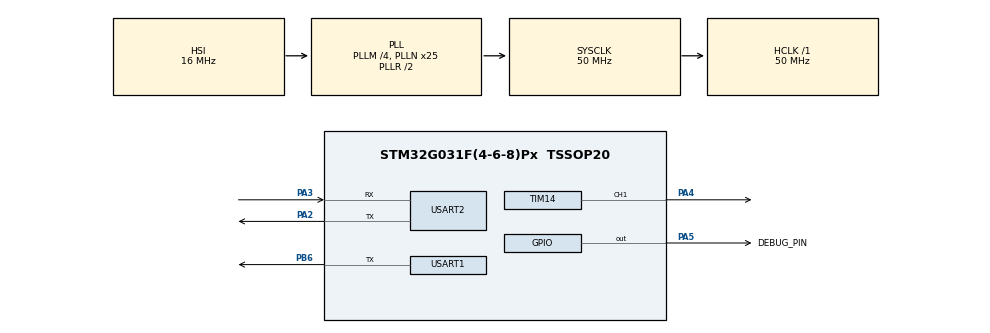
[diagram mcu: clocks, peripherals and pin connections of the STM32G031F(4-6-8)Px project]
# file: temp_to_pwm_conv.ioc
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CRC.CRCLength=CRC_POLYLENGTH_8B
CRC.DefaultInitValueUse=DEFAULT_INIT_VALUE_DISABLE
CRC.DefaultPolynomialUse=DEFAULT_POLYNOMIAL_DISABLE
CRC.GeneratingPolynomial=X5+X4+X0
CRC.InputDataInversionMode=CRC_INPUTDATA_INVERSION_BYTE
CRC.OutputDataInversionMode=CRC_OUTPUTDATA_INVERSION_ENABLE
Mcu.Family=STM32G0
Mcu.Name=STM32G031F(4-6-8)Px
Mcu.Package=TSSOP20
Mcu.UserConstants=UART_ONE_WIRE,$$_USART2_IP_HANDLE_$$;TIM_PWM,$$_TIM14_IP_HANDLE_$$;UART_DEBUG,$$_USART1_IP_HANDLE_$$;CRC_UNIT,$$_CRC_IP_HANDLE_$$;TIM_MEASURE,$$_TIM1_IP_HANDLE_$$
NVIC.PVD_IRQn=true\:1\:0\:true\:false\:true\:true\:true\:true
NVIC.TIM1_CC_IRQn=true\:0\:0\:false\:false\:true\:true\:true\:true
PA13.Mode=Serial_Wire
PA13.Signal=SYS_SWDIO
PA14-BOOT0.Mode=Serial_Wire
PA14-BOOT0.Signal=SYS_SWCLK
PA14-BOOT0__PA15.StandardMode=true
PA2.GPIO_ModeDefaultPP=GPIO_MODE_AF_OD
PA2.GPIO_Speed=GPIO_SPEED_FREQ_MEDIUM
PA2.Mode=Asynchronous
PA2.Signal=USART2_TX
PA3.GPIO_Speed=GPIO_SPEED_FREQ_MEDIUM
PA3.Mode=Asynchronous
PA3.Signal=USART2_RX
PA4.GPIO_Speed=GPIO_SPEED_FREQ_MEDIUM
PA4.Signal=S_TIM14_CH1
PA5.GPIO_Label=DEBUG_PIN
PA5.GPIO_PuPd=GPIO_NOPULL
PA5.GPIO_Speed=GPIO_SPEED_FREQ_VERY_HIGH
PA5.PinState=GPIO_PIN_RESET
PA5.Signal=GPIO_Output
PB0__PB1__PB2__PA8.StandardMode=true
PB3__PB4__PB5__PB6.StandardMode=true
PB6.GPIO_Speed=GPIO_SPEED_FREQ_VERY_HIGH
PB6.Mode=Half_duplex(single_wire_mode)
PB6.Signal=USART1_TX
PB7__PB8.StandardMode=true
PC14-OSC32_IN\ (PC14)__PB9.StandardMode=true
ProjectManager.HeapSize=0x200
ProjectManager.StackSize=0x400
ProjectManager.TargetToolchain=STM32CubeIDE
RCC.ADCFreq_Value=50000000
RCC.AHBFreq_Value=50000000
RCC.CortexFreq_Value=50000000
RCC.EXTERNAL_CLOCK_VALUE=12288000
RCC.HCLKFreq_Value=50000000
RCC.HSE_VALUE=8000000
RCC.HSI_VALUE=16000000
RCC.LSE_VALUE=32768
RCC.PLLM=RCC_PLLM_DIV4
RCC.PLLN=25
RCC.PLLQ=RCC_PLLQ_DIV4
RCC.SYSCLKFreq_VALUE=50000000
RCC.SYSCLKSource=RCC_SYSCLKSOURCE_PLLCLK
RCC.VCOOutputFreq_Value=100000000
SH.S_TIM14_CH1.0=TIM14_CH1,PWM Generation1 CH1
SYS.Mode=PWR_PVD_MODE_NORMAL
SYS.PVDLevel=PWR_PVDLEVEL_5
TIM1.Channel-Output\ Compare1\ No\ Output=TIM_CHANNEL_1
TIM1.Channel-Output\ Compare2\ No\ Output=TIM_CHANNEL_2
TIM1.OC1Preload=DISABLE
TIM1.Period=10000-1
TIM1.Prescaler=5000-1
TIM1.Pulse-Output\ Compare1\ No\ Output=8000-1
TIM1.Pulse-Output\ Compare2\ No\ Output=10000-1
TIM14.Channel=TIM_CHANNEL_1
TIM14.OCFastMode_PWM=TIM_OCFAST_DISABLE
TIM14.Period=10000-1
TIM14.Prescaler=5-1
TIM14.Pulse=0
USART1.BaudRate=1000000
USART1.Mode=MODE_TX
USART1.VirtualMode-Half_duplex(single_wire_mode)=VM_ASYNC
USART2.OverSampling=UART_OVERSAMPLING_16
USART2.VirtualMode-Asynchronous=VM_ASYNC
VP_CRC_VS_CRC.Mode=CRC_Activate
VP_IWDG_VS_IWDG.Mode=IWDG_Activate
VP_SYS_V_PVD_IN.Mode=Mode_PVD_Int
VP_TIM14_VS_ClockSourceINT.Mode=Enable_Timer
VP_TIM1_VS_ClockSourceINT.Mode=Internal
VP_TIM1_VS_no_output1.Mode=Output Compare1 No Output
VP_TIM1_VS_no_output2.Mode=Output Compare2 No Output
board=custom

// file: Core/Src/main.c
/* USER CODE BEGIN Header */
/**
  ******************************************************************************
  * @file           : main.c
  * @brief          : Main program body
  ******************************************************************************
  * @attention
  *
  * Copyright (c) 2025 STMicroelectronics.
  * All rights reserved.
  *
  * This software is licensed under terms that can be found in the LICENSE file
  * in the root directory of this software component.
  * If no LICENSE file comes with this software, it is provided AS-IS.
  *
  ******************************************************************************
  */
/* USER CODE END Header */
#include "main.h"

CRC_HandleTypeDef hcrc;

IWDG_HandleTypeDef hiwdg;

TIM_HandleTypeDef htim1;
TIM_HandleTypeDef htim14;

UART_HandleTypeDef huart1;
UART_HandleTypeDef huart2;

void SystemClock_Config(void);
static void MX_GPIO_Init(void);
static void MX_TIM14_Init(void);
static void MX_USART1_UART_Init(void);
static void MX_USART2_UART_Init(void);
static void MX_IWDG_Init(void);
static void MX_CRC_Init(void);
static void MX_TIM1_Init(void);
/* USER CODE BEGIN PFP */
static void touch_grass();
/* USER CODE END PFP */

int main(void)
{

  /* MCU Configuration--------------------------------------------------------*/

  /* Reset of all peripherals, Initializes the Flash interface and the Systick. */
  HAL_Init();

  /* Configure the system clock */
  SystemClock_Config();

  /* Initialize all configured peripherals */
  MX_GPIO_Init();
  MX_TIM14_Init();
  MX_USART1_UART_Init();
  MX_USART2_UART_Init();
  MX_IWDG_Init();
  MX_CRC_Init();
  MX_TIM1_Init();
  /* USER CODE BEGIN 2 */

  while (ds18b20_init(&UART_ONE_WIRE)) {
	  debug_print(ERR, "Trying to reinit . . .");
	  HAL_Delay(100);  //  watchdog will do
  }

  HAL_TIM_PWM_Start(&TIM_PWM, TIM_CHANNEL_1);
  HAL_TIM_OC_Start_IT(&TIM_MEASURE, TIM_CHANNEL_2);
  HAL_TIM_OC_Start_IT(&TIM_MEASURE, TIM_CHANNEL_1);
  /* USER CODE END 2 */

  /* Infinite loop */
  /* USER CODE BEGIN WHILE */
  while (1)
  {
    touch_grass();
    /* USER CODE END WHILE */

  }
}

void SystemClock_Config(void)
{
  RCC_OscInitTypeDef RCC_OscInitStruct = {0};
  RCC_ClkInitTypeDef RCC_ClkInitStruct = {0};

  /** Configure the main internal regulator output voltage
  */
  HAL_PWREx_ControlVoltageScaling(PWR_REGULATOR_VOLTAGE_SCALE1);

  /** Initializes the RCC Oscillators according to the specified parameters
  * in the RCC_OscInitTypeDef structure.
  */
  RCC_OscInitStruct.OscillatorType = RCC_OSCILLATORTYPE_HSI|RCC_OSCILLATORTYPE_LSI;
  RCC_OscInitStruct.HSIState = RCC_HSI_ON;
  RCC_OscInitStruct.HSIDiv = RCC_HSI_DIV1;
  RCC_OscInitStruct.HSICalibrationValue = RCC_HSICALIBRATION_DEFAULT;
  RCC_OscInitStruct.LSIState = RCC_LSI_ON;
  RCC_OscInitStruct.PLL.PLLState = RCC_PLL_ON;
  RCC_OscInitStruct.PLL.PLLSource = RCC_PLLSOURCE_HSI;
  RCC_OscInitStruct.PLL.PLLM = RCC_PLLM_DIV4;
  RCC_OscInitStruct.PLL.PLLN = 25;
  RCC_OscInitStruct.PLL.PLLP = RCC_PLLP_DIV2;
  RCC_OscInitStruct.PLL.PLLQ = RCC_PLLQ_DIV4;
  RCC_OscInitStruct.PLL.PLLR = RCC_PLLR_DIV2;
  if (HAL_RCC_OscConfig(&RCC_OscInitStruct) != HAL_OK)
  {
    Error_Handler();
  }

  /** Initializes the CPU, AHB and APB buses clocks
  */
  RCC_ClkInitStruct.ClockType = RCC_CLOCKTYPE_HCLK|RCC_CLOCKTYPE_SYSCLK
                              |RCC_CLOCKTYPE_PCLK1;
  RCC_ClkInitStruct.SYSCLKSource = RCC_SYSCLKSOURCE_PLLCLK;
  RCC_ClkInitStruct.AHBCLKDivider = RCC_SYSCLK_DIV1;
  RCC_ClkInitStruct.APB1CLKDivider = RCC_HCLK_DIV1;

  if (HAL_RCC_ClockConfig(&RCC_ClkInitStruct, FLASH_LATENCY_2) != HAL_OK)
  {
    Error_Handler();
  }
}

static void MX_CRC_Init(void)
{

  hcrc.Instance = CRC;
  hcrc.Init.DefaultPolynomialUse = DEFAULT_POLYNOMIAL_DISABLE;
  hcrc.Init.DefaultInitValueUse = DEFAULT_INIT_VALUE_DISABLE;
  hcrc.Init.GeneratingPolynomial = 49;
  hcrc.Init.CRCLength = CRC_POLYLENGTH_8B;
  hcrc.Init.InitValue = 0;
  hcrc.Init.InputDataInversionMode = CRC_INPUTDATA_INVERSION_BYTE;
  hcrc.Init.OutputDataInversionMode = CRC_OUTPUTDATA_INVERSION_ENABLE;
  hcrc.InputDataFormat = CRC_INPUTDATA_FORMAT_BYTES;
  if (HAL_CRC_Init(&hcrc) != HAL_OK)
  {
    Error_Handler();
  }

}

static void MX_IWDG_Init(void)
{

  hiwdg.Instance = IWDG;
  hiwdg.Init.Prescaler = IWDG_PRESCALER_4;
  hiwdg.Init.Window = 4095;
  hiwdg.Init.Reload = 4095;
  if (HAL_IWDG_Init(&hiwdg) != HAL_OK)
  {
    Error_Handler();
  }

}

static void MX_TIM1_Init(void)
{

  TIM_ClockConfigTypeDef sClockSourceConfig = {0};
  TIM_MasterConfigTypeDef sMasterConfig = {0};
  TIM_OC_InitTypeDef sConfigOC = {0};
  TIM_BreakDeadTimeConfigTypeDef sBreakDeadTimeConfig = {0};

  htim1.Instance = TIM1;
  htim1.Init.Prescaler = 5000-1;
  htim1.Init.CounterMode = TIM_COUNTERMODE_UP;
  htim1.Init.Period = 10000-1;
  htim1.Init.ClockDivision = TIM_CLOCKDIVISION_DIV1;
  htim1.Init.RepetitionCounter = 0;
  htim1.Init.AutoReloadPreload = TIM_AUTORELOAD_PRELOAD_DISABLE;
  if (HAL_TIM_Base_Init(&htim1) != HAL_OK)
  {
    Error_Handler();
  }
  sClockSourceConfig.ClockSource = TIM_CLOCKSOURCE_INTERNAL;
  if (HAL_TIM_ConfigClockSource(&htim1, &sClockSourceConfig) != HAL_OK)
  {
    Error_Handler();
  }
  if (HAL_TIM_OC_Init(&htim1) != HAL_OK)
  {
    Error_Handler();
  }
  sMasterConfig.MasterOutputTrigger = TIM_TRGO_RESET;
  sMasterConfig.MasterOutputTrigger2 = TIM_TRGO2_RESET;
  sMasterConfig.MasterSlaveMode = TIM_MASTERSLAVEMODE_DISABLE;
  if (HAL_TIMEx_MasterConfigSynchronization(&htim1, &sMasterConfig) != HAL_OK)
  {
    Error_Handler();
  }
  sConfigOC.OCMode = TIM_OCMODE_TIMING;
  sConfigOC.Pulse = 8000-1;
  sConfigOC.OCPolarity = TIM_OCPOLARITY_HIGH;
  sConfigOC.OCNPolarity = TIM_OCNPOLARITY_HIGH;
  sConfigOC.OCFastMode = TIM_OCFAST_DISABLE;
  sConfigOC.OCIdleState = TIM_OCIDLESTATE_RESET;
  sConfigOC.OCNIdleState = TIM_OCNIDLESTATE_RESET;
  if (HAL_TIM_OC_ConfigChannel(&htim1, &sConfigOC, TIM_CHANNEL_1) != HAL_OK)
  {
    Error_Handler();
  }
  sConfigOC.Pulse = 10000-1;
  if (HAL_TIM_OC_ConfigChannel(&htim1, &sConfigOC, TIM_CHANNEL_2) != HAL_OK)
  {
    Error_Handler();
  }
  sBreakDeadTimeConfig.OffStateRunMode = TIM_OSSR_DISABLE;
  sBreakDeadTimeConfig.OffStateIDLEMode = TIM_OSSI_DISABLE;
  sBreakDeadTimeConfig.LockLevel = TIM_LOCKLEVEL_OFF;
  sBreakDeadTimeConfig.DeadTime = 0;
  sBreakDeadTimeConfig.BreakState = TIM_BREAK_DISABLE;
  sBreakDeadTimeConfig.BreakPolarity = TIM_BREAKPOLARITY_HIGH;
  sBreakDeadTimeConfig.BreakFilter = 0;
  sBreakDeadTimeConfig.BreakAFMode = TIM_BREAK_AFMODE_INPUT;
  sBreakDeadTimeConfig.Break2State = TIM_BREAK2_DISABLE;
  sBreakDeadTimeConfig.Break2Polarity = TIM_BREAK2POLARITY_HIGH;
  sBreakDeadTimeConfig.Break2Filter = 0;
  sBreakDeadTimeConfig.Break2AFMode = TIM_BREAK_AFMODE_INPUT;
  sBreakDeadTimeConfig.AutomaticOutput = TIM_AUTOMATICOUTPUT_DISABLE;
  if (HAL_TIMEx_ConfigBreakDeadTime(&htim1, &sBreakDeadTimeConfig) != HAL_OK)
  {
    Error_Handler();
  }

}

static void MX_TIM14_Init(void)
{

  TIM_OC_InitTypeDef sConfigOC = {0};

  htim14.Instance = TIM14;
  htim14.Init.Prescaler = 5-1;
  htim14.Init.CounterMode = TIM_COUNTERMODE_UP;
  htim14.Init.Period = 10000-1;
  htim14.Init.ClockDivision = TIM_CLOCKDIVISION_DIV1;
  htim14.Init.AutoReloadPreload = TIM_AUTORELOAD_PRELOAD_DISABLE;
  if (HAL_TIM_Base_Init(&htim14) != HAL_OK)
  {
    Error_Handler();
  }
  if (HAL_TIM_PWM_Init(&htim14) != HAL_OK)
  {
    Error_Handler();
  }
  sConfigOC.OCMode = TIM_OCMODE_PWM1;
  sConfigOC.Pulse = 0;
  sConfigOC.OCPolarity = TIM_OCPOLARITY_HIGH;
  sConfigOC.OCFastMode = TIM_OCFAST_DISABLE;
  if (HAL_TIM_PWM_ConfigChannel(&htim14, &sConfigOC, TIM_CHANNEL_1) != HAL_OK)
  {
    Error_Handler();
  }
  HAL_TIM_MspPostInit(&htim14);

}

static void MX_USART1_UART_Init(void)
{

  huart1.Instance = USART1;
  huart1.Init.BaudRate = 1000000;
  huart1.Init.WordLength = UART_WORDLENGTH_8B;
  huart1.Init.StopBits = UART_STOPBITS_1;
  huart1.Init.Parity = UART_PARITY_NONE;
  huart1.Init.Mode = UART_MODE_TX;
  huart1.Init.HwFlowCtl = UART_HWCONTROL_NONE;
  huart1.Init.OverSampling = UART_OVERSAMPLING_16;
  huart1.Init.OneBitSampling = UART_ONE_BIT_SAMPLE_DISABLE;
  huart1.Init.ClockPrescaler = UART_PRESCALER_DIV1;
  huart1.AdvancedInit.AdvFeatureInit = UART_ADVFEATURE_NO_INIT;
  if (HAL_HalfDuplex_Init(&huart1) != HAL_OK)
  {
    Error_Handler();
  }
  if (HAL_UARTEx_SetTxFifoThreshold(&huart1, UART_TXFIFO_THRESHOLD_1_8) != HAL_OK)
  {
    Error_Handler();
  }
  if (HAL_UARTEx_SetRxFifoThreshold(&huart1, UART_RXFIFO_THRESHOLD_1_8) != HAL_OK)
  {
    Error_Handler();
  }
  if (HAL_UARTEx_DisableFifoMode(&huart1) != HAL_OK)
  {
    Error_Handler();
  }

}

static void MX_USART2_UART_Init(void)
{

  huart2.Instance = USART2;
  huart2.Init.BaudRate = 115200;
  huart2.Init.WordLength = UART_WORDLENGTH_8B;
  huart2.Init.StopBits = UART_STOPBITS_1;
  huart2.Init.Parity = UART_PARITY_NONE;
  huart2.Init.Mode = UART_MODE_TX_RX;
  huart2.Init.HwFlowCtl = UART_HWCONTROL_NONE;
  huart2.Init.OverSampling = UART_OVERSAMPLING_16;
  huart2.Init.OneBitSampling = UART_ONE_BIT_SAMPLE_DISABLE;
  huart2.Init.ClockPrescaler = UART_PRESCALER_DIV1;
  huart2.AdvancedInit.AdvFeatureInit = UART_ADVFEATURE_NO_INIT;
  if (HAL_UART_Init(&huart2) != HAL_OK)
  {
    Error_Handler();
  }

}

static void MX_GPIO_Init(void)
{
  GPIO_InitTypeDef GPIO_InitStruct = {0};

  /* GPIO Ports Clock Enable */
  __HAL_RCC_GPIOA_CLK_ENABLE();
  __HAL_RCC_GPIOB_CLK_ENABLE();

  /*Configure GPIO pin Output Level */
  HAL_GPIO_WritePin(DEBUG_PIN_GPIO_Port, DEBUG_PIN_Pin, GPIO_PIN_RESET);

  /*Configure GPIO pin : DEBUG_PIN_Pin */
  GPIO_InitStruct.Pin = DEBUG_PIN_Pin;
  GPIO_InitStruct.Mode = GPIO_MODE_OUTPUT_PP;
  GPIO_InitStruct.Pull = GPIO_NOPULL;
  GPIO_InitStruct.Speed = GPIO_SPEED_FREQ_VERY_HIGH;
  HAL_GPIO_Init(DEBUG_PIN_GPIO_Port, &GPIO_InitStruct);

}

/* USER CODE BEGIN 4 */
static void touch_grass() {
  static uint64_t grass_touched_counter = 0;
  grass_touched_counter++;
  HAL_IWDG_Refresh(&hiwdg);
}

void float_to_str(float value, char *buffer, uint8_t precision) {
    uint8_t is_negative = (value < 0);
    if (is_negative) {
        value = -value;
    }
    int int_part = (int)value;
    float frac_part = value - int_part;
    sprintf(buffer, "%s%d.", is_negative ? "-" : "", int_part);
    for (uint8_t i = 0; i < precision; i++) {
        frac_part *= 10;
        buffer[strlen(buffer)] = '0' + (int)frac_part;
        frac_part -= (int)frac_part;
    }
    buffer[strlen(buffer)] = '\0';
}

/* USER CODE END 4 */

void Error_Handler(void)
{
  __disable_irq();
  while (1)
  {
  }
}
